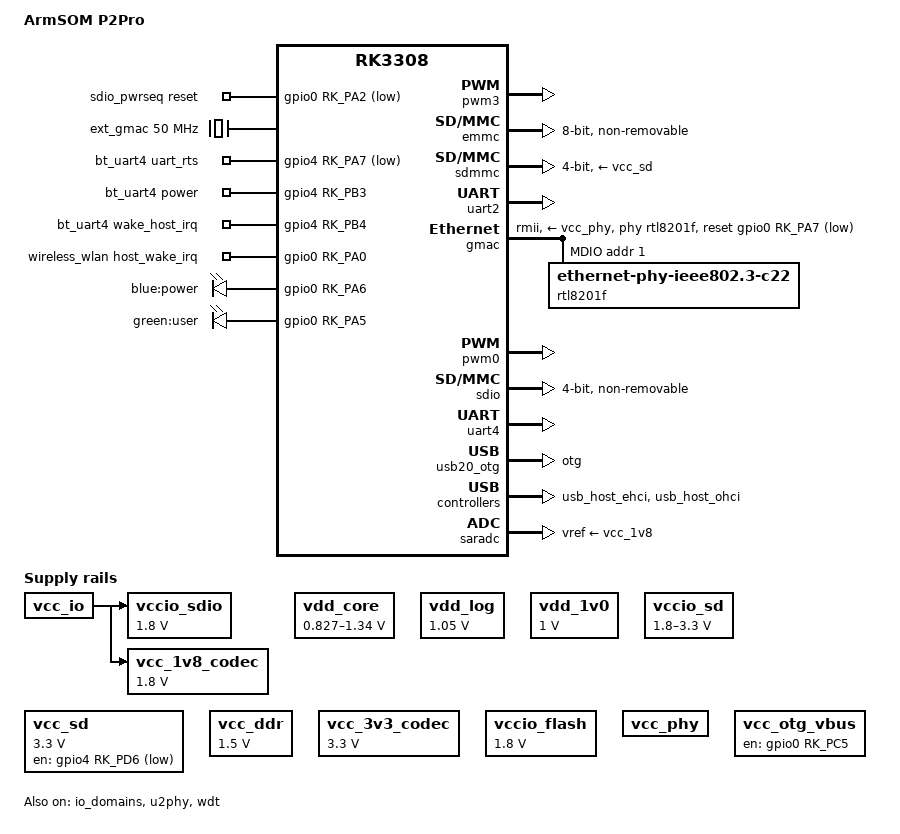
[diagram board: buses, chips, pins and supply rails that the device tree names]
// SPDX-License-Identifier: (GPL-2.0+ OR MIT)
/*
 * Copyright (c) 2018 Fuzhou Rockchip Electronics Co., Ltd
 */

/dts-v1/;

#include <dt-bindings/input/input.h>
#include "rk3308.dtsi"
// #include "rk3308k.dtsi"
#include "rk3308bs-pinctrl.dtsi"

/ {
	model = "ArmSOM P2Pro";
	compatible = "armsom,p2pro", "rockchip,rk3308";

	chosen {
		// bootargs = "earlycon=uart8250,mmio32,0xff0c0000 console=ttyFIQ0 root=PARTUUID=614e0000-0000 rootfstype=ext4 rootwait snd_aloop.index=7 snd_aloop.use_raw_jiffies=1";
		stdout-path = "serial2:1500000n8";
	};

	aliases {
		mmc0 = &emmc;
		mmc1 = &sdmmc;
		mmc2 = &sdio;

		led-boot = &led_user;
		led-failsafe = &led_user;
		led-running = &led_user;
		led-upgrade = &led_user;
	};

	sdio_pwrseq: sdio-pwrseq {
		compatible = "mmc-pwrseq-simple";
		pinctrl-names = "default";
		pinctrl-0 = <&wifi_enable_h>;

		/*
		 * On the module itself this is one of these (depending
		 * on the actual card populated):
		 * - SDIO_RESET_L_WL_REG_ON
		 * - PDN (power down when low)
		 */
		reset-gpios = <&gpio0 RK_PA2 GPIO_ACTIVE_LOW>;
	};

	dummy_codec: dummy-codec {
		compatible = "rockchip,dummy-codec";
		#sound-dai-cells = <0>;
	};

	vdd_core: vdd-core {
		compatible = "pwm-regulator";
		pwms = <&pwm0 0 5000 1>;
		regulator-name = "vdd_core";
		regulator-min-microvolt = <827000>;
		regulator-max-microvolt = <1340000>;
		regulator-init-microvolt = <1015000>;
		regulator-always-on;
		regulator-boot-on;
		regulator-settling-time-up-us = <250>;
		status = "okay";
	};

	vdd_log: vdd-log {
		compatible = "regulator-fixed";
		regulator-name = "vdd_log";
		regulator-always-on;
		regulator-boot-on;
		regulator-min-microvolt = <1050000>;
		regulator-max-microvolt = <1050000>;
	};

	vdd_1v0: vdd-1v0 {
		compatible = "regulator-fixed";
		regulator-name = "vdd_1v0";
		regulator-always-on;
		regulator-boot-on;
		regulator-min-microvolt = <1000000>;
		regulator-max-microvolt = <1000000>;
	};

	vccio_sdio: vcc_1v8: vcc-1v8 {
		compatible = "regulator-fixed";
		regulator-name = "vcc_1v8";
		regulator-always-on;
		regulator-boot-on;
		regulator-min-microvolt = <1800000>;
		regulator-max-microvolt = <1800000>;
		vin-supply = <&vcc_io>;
	};

	vccio_sd: vccio-sd {
		compatible = "regulator-gpio";
		regulator-name = "vccio_sd";
		regulator-min-microvolt = <1800000>;
		regulator-max-microvolt = <3300000>;
		states = <1800000 0x0
			  3300000 0x1>;
	};

	vcc_sd: vcc-sd {
		compatible = "regulator-fixed";
		gpio = <&gpio4 RK_PD6 GPIO_ACTIVE_LOW>;
		regulator-name = "vcc_sd";
		regulator-boot-on;
		regulator-min-microvolt = <3300000>;
		regulator-max-microvolt = <3300000>;
	};

	vcc_1v8_codec: vcc-1v8-codec {
		compatible = "regulator-fixed";
		regulator-name = "vcc_1v8_codec";
		regulator-always-on;
		regulator-boot-on;
		regulator-min-microvolt = <1800000>;
		regulator-max-microvolt = <1800000>;
		vin-supply = <&vcc_io>;
	};

	vcc_ddr: vcc-ddr {
		compatible = "regulator-fixed";
		regulator-name = "vcc_ddr";
		regulator-always-on;
		regulator-boot-on;
		regulator-min-microvolt = <1500000>;
		regulator-max-microvolt = <1500000>;
	};

	vcc_3v3_codec: vcc_io: vcc-io {
		compatible = "regulator-fixed";
		regulator-name = "vcc_io";
		regulator-always-on;
		regulator-boot-on;
		regulator-min-microvolt = <3300000>;
		regulator-max-microvolt = <3300000>;
	};

	vccio_flash: vccio-flash {
		compatible = "regulator-fixed";
		regulator-name = "vccio_flash";
		regulator-always-on;
		regulator-boot-on;
		regulator-min-microvolt = <1800000>;
		regulator-max-microvolt = <1800000>;
	};

	vcc_phy: vcc-phy-regulator {
		compatible = "regulator-fixed";
		regulator-name = "vcc_phy";
		regulator-always-on;
		regulator-boot-on;
	};

	vcc_otg_vbus: otg-vbus-regulator {
		compatible = "regulator-fixed";
		enable-active-high;
		gpio = <&gpio0 RK_PC5 GPIO_ACTIVE_HIGH>;
		pinctrl-names = "default";
		pinctrl-0 = <&otg_vbus_drv>;
		regulator-name = "vcc_otg_vbus";
	};

	ext_gmac: gmac-clk {
		compatible = "fixed-clock";
		clock-frequency = <125000000>;
		clock-output-names = "ext_gmac";
		#clock-cells = <0>;
	};

	bt_uart4: wireless_bluetooth: wireless-bluetooth {
		compatible = "bluetooth-platdata";
		uart_rts_gpios = <&gpio4 RK_PA7 GPIO_ACTIVE_LOW>;
		pinctrl-names = "default", "rts_gpio";
		pinctrl-0 = <&uart4_rts>;
		pinctrl-1 = <&uart4_rts_pin>;
		BT,power_gpio    = <&gpio4 RK_PB3 GPIO_ACTIVE_HIGH>;
		BT,wake_host_irq = <&gpio4 RK_PB4 GPIO_ACTIVE_HIGH>;
		status = "okay";
	};

	wireless_wlan: wireless-wlan {
		compatible = "wlan-platdata";
		rockchip,grf = <&grf>;
		pinctrl-names = "default";
		pinctrl-0 = <&wifi_wake_host>;
		wifi_chip_type = "ap6256";
		WIFI,host_wake_irq = <&gpio0 RK_PA0 GPIO_ACTIVE_HIGH>;
		status = "okay";
	};

	gpio-leds {
		compatible = "gpio-leds";
		status = "okay";

		green-led {
			label = "blue:power";
			gpios = <&gpio0 RK_PA6 GPIO_ACTIVE_HIGH>;
			linux,default-trigger = "default-on";
			default-state = "on";
		};

		led_user: blue-led {
			label = "green:user";
			gpios = <&gpio0 RK_PA5 GPIO_ACTIVE_HIGH>;
			linux,default-trigger = "heartbeat";
			default-state = "on";
		};
	};

	breathing_light {
		compatible = "lhd,breathing_light_test";
		backlight {
			pwms = <&pwm3 0 25000 0>;
			pwm-names = "breathing_light"; 
		};
	};
};

&pwm3 {
	status = "okay";
	pinctrl-names = "active";
	pinctrl-0 = <&pwm3_pin_pull_down>;
};

&cpu0 {
	cpu-supply = <&vdd_core>;
};

&emmc {
	bus-width = <8>;
	cap-mmc-highspeed;
	mmc-hs200-1_8v;
	supports-emmc;
	disable-wp;
	non-removable;
	num-slots = <1>;
	pinctrl-names = "default";
	pinctrl-0 = <&emmc_clk &emmc_cmd &emmc_bus8>;
	status = "okay";
};

&sdmmc {
	max-frequeency = <150000000>;
	supports-sd;
	supports-emmc;
	bus-width = <4>;
	cap-mmc-highspeed;
	cap-sd-highspeed;
	disable-wp;
	num-slots = <1>;
	vmmc-supply = <&vcc_sd>;
	vqmmc-supply = <&vccio_sd>;
	pinctrl-names = "default";
	pinctrl-0 = <&sdmmc_clk &sdmmc_cmd &sdmmc_det &sdmmc_bus4>;
	card-detect-delay = <800>;
	status = "okay";
};

&uart2 {
	status = "okay";
};

&ext_gmac {
 	clock-frequency = <50000000>;
};

&gmac {
	phy-handle = <&rtl8201f>;
	phy-mode = "rmii";
	phy-supply = <&vcc_phy>;
	clock_in_out = "input";
	assigned-clocks = <&cru SCLK_MAC>;
	assigned-clock-parents = <&ext_gmac>;
	status = "okay";

	snps,reset-gpio = <&gpio0 RK_PA7 GPIO_ACTIVE_LOW>;
	snps,reset-active-low;
	snps,reset-delays-us = <0 50000 50000>;

	mdio {
		compatible = "snps,dwmac-mdio";
		#address-cells = <1>;
		#size-cells = <0>;

		rtl8201f: ethernet-phy@1 {
			compatible = "ethernet-phy-ieee802.3-c22";
			reg = <1>;
		};
	};
};

&io_domains {
	status = "okay";

	vccio0-supply = <&vcc_io>;
	vccio1-supply = <&vcc_io>;
	vccio2-supply = <&vcc_1v8>;
	vccio3-supply = <&vccio_flash>;
	vccio4-supply = <&vccio_sdio>;
	vccio5-supply = <&vcc_io>;
};

&pinctrl {
	compatible = "rockchip,rk3308bs-pinctrl", "rockchip,rk3308-pinctrl";
	pinctrl-names = "default";
	pinctrl-0 = <&rtc_32k>;

	buttons {
		mic_mute: mic-mute {
			rockchip,pins = <0 RK_PC0 RK_FUNC_GPIO &pcfg_pull_up>;
		};
	};
	ethernet-phy {
		eth_phy_reset_pin: eth-phy-reset-pin {
			rockchip,pins = <0 RK_PA7 RK_FUNC_GPIO &pcfg_pull_down>;
		};
	};
	usb {
		otg_vbus_drv: otg-vbus-drv {
			rockchip,pins = <0 RK_PC5 RK_FUNC_GPIO &pcfg_pull_none>;
		};
	};
	rotary {
		rotary_gpio: rotary-gpio {
			rockchip,pins =
				<2 RK_PB3 RK_FUNC_GPIO &pcfg_pull_none>,
				<2 RK_PB4 RK_FUNC_GPIO &pcfg_pull_none>;
		};
	};
	sdio-pwrseq {
		wifi_enable_h: wifi-enable-h {
			rockchip,pins = <0 RK_PA2 RK_FUNC_GPIO &pcfg_pull_none>;
		};
	};

	wireless-wlan {
		wifi_wake_host: wifi-wake-host {
			rockchip,pins = <0 RK_PA0 RK_FUNC_GPIO &pcfg_pull_down>;
		};
	};
};

&pwm0 {
	status = "okay";
	pinctrl-names = "active";
	pinctrl-0 = <&pwm0_pin_pull_down>;
};

&sdio {
	max-frequency = <110000000>;
	bus-width = <4>;
	cap-sd-highspeed;
	supports-sdio;
	ignore-pm-notify;
	keep-power-in-suspend;
	non-removable;
	mmc-pwrseq = <&sdio_pwrseq>;
	sd-uhs-sdr104;
	status = "okay";
};

&u2phy {
	status = "okay";

	u2phy_host: host-port {
		phy-supply = <&vcc_otg_vbus>;
		status = "okay";
	};

	u2phy_otg: otg-port {
		vbus-supply = <&vcc_otg_vbus>;
		status = "okay";
	};
};

&uart4 {
	pinctrl-names = "default";
	pinctrl-0 = <&uart4_xfer &uart4_cts>;
	status = "okay";
};

&usb20_otg {
	dr_mode = "otg";
	status = "okay";
};

&usb_host_ehci {
	status = "okay";
};

&usb_host_ohci {
	status = "okay";
};

&wdt {
	status = "okay";
};

&saradc {
	status = "okay";
	vref-supply = <&vcc_1v8>;
};
